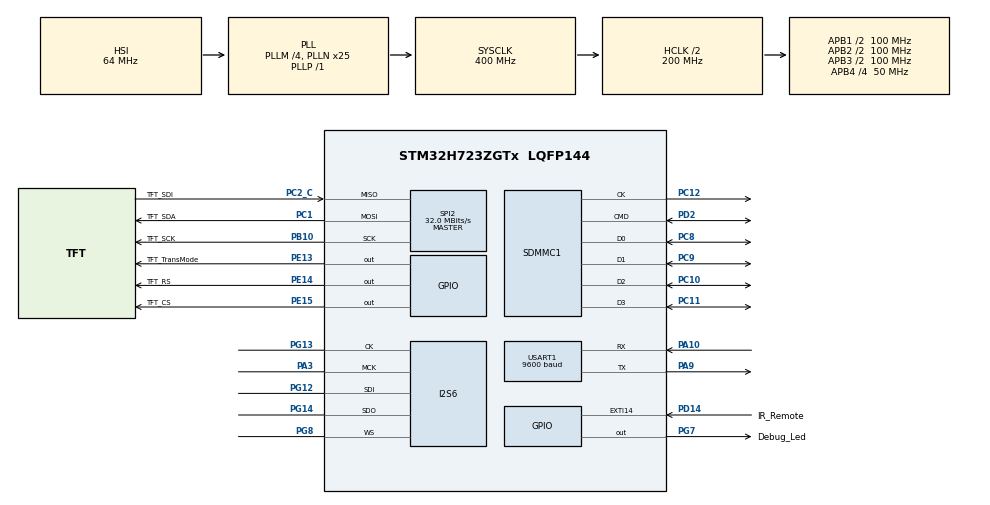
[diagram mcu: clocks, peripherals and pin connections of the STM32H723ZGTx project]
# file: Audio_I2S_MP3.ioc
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Bdma.Request0=SPI6_TX
Bdma.RequestsNb=1
Bdma.SPI6_TX.0.Direction=DMA_MEMORY_TO_PERIPH
Bdma.SPI6_TX.0.EventEnable=DISABLE
Bdma.SPI6_TX.0.Instance=BDMA_Channel0
Bdma.SPI6_TX.0.MemDataAlignment=DMA_MDATAALIGN_HALFWORD
Bdma.SPI6_TX.0.MemInc=DMA_MINC_ENABLE
Bdma.SPI6_TX.0.Mode=DMA_CIRCULAR
Bdma.SPI6_TX.0.PeriphDataAlignment=DMA_PDATAALIGN_HALFWORD
Bdma.SPI6_TX.0.PeriphInc=DMA_PINC_DISABLE
Bdma.SPI6_TX.0.Polarity=HAL_DMAMUX_REQ_GEN_RISING
Bdma.SPI6_TX.0.Priority=DMA_PRIORITY_LOW
Bdma.SPI6_TX.0.RequestNumber=1
Bdma.SPI6_TX.0.SignalID=NONE
Bdma.SPI6_TX.0.SyncEnable=DISABLE
Bdma.SPI6_TX.0.SyncPolarity=HAL_DMAMUX_SYNC_NO_EVENT
Bdma.SPI6_TX.0.SyncRequestNumber=1
Bdma.SPI6_TX.0.SyncSignalID=NONE
CORTEX_M7.default_mode_Activation=1
Dma.Request0=SPI2_TX
Dma.Request1=USART1_RX
Dma.SPI2_TX.0.Direction=DMA_MEMORY_TO_PERIPH
Dma.SPI2_TX.0.EventEnable=DISABLE
Dma.SPI2_TX.0.FIFOMode=DMA_FIFOMODE_DISABLE
Dma.SPI2_TX.0.Instance=DMA1_Stream3
Dma.SPI2_TX.0.MemDataAlignment=DMA_MDATAALIGN_BYTE
Dma.SPI2_TX.0.MemInc=DMA_MINC_ENABLE
Dma.SPI2_TX.0.Mode=DMA_NORMAL
Dma.SPI2_TX.0.PeriphDataAlignment=DMA_PDATAALIGN_BYTE
Dma.SPI2_TX.0.PeriphInc=DMA_PINC_DISABLE
Dma.SPI2_TX.0.Polarity=HAL_DMAMUX_REQ_GEN_RISING
Dma.SPI2_TX.0.Priority=DMA_PRIORITY_LOW
Dma.SPI2_TX.0.RequestNumber=1
Dma.SPI2_TX.0.SignalID=NONE
Dma.SPI2_TX.0.SyncEnable=DISABLE
Dma.SPI2_TX.0.SyncPolarity=HAL_DMAMUX_SYNC_NO_EVENT
Dma.SPI2_TX.0.SyncRequestNumber=1
Dma.SPI2_TX.0.SyncSignalID=NONE
Dma.USART1_RX.1.Direction=DMA_PERIPH_TO_MEMORY
Dma.USART1_RX.1.EventEnable=DISABLE
Dma.USART1_RX.1.FIFOMode=DMA_FIFOMODE_DISABLE
Dma.USART1_RX.1.Instance=DMA1_Stream0
Dma.USART1_RX.1.MemDataAlignment=DMA_MDATAALIGN_BYTE
Dma.USART1_RX.1.MemInc=DMA_MINC_ENABLE
Dma.USART1_RX.1.Mode=DMA_NORMAL
Dma.USART1_RX.1.PeriphDataAlignment=DMA_PDATAALIGN_BYTE
Dma.USART1_RX.1.PeriphInc=DMA_PINC_DISABLE
Dma.USART1_RX.1.Polarity=HAL_DMAMUX_REQ_GEN_RISING
Dma.USART1_RX.1.Priority=DMA_PRIORITY_LOW
Dma.USART1_RX.1.RequestNumber=1
Dma.USART1_RX.1.SignalID=NONE
Dma.USART1_RX.1.SyncEnable=DISABLE
Dma.USART1_RX.1.SyncPolarity=HAL_DMAMUX_SYNC_NO_EVENT
Dma.USART1_RX.1.SyncRequestNumber=1
Dma.USART1_RX.1.SyncSignalID=NONE
FATFS._FS_TIMEOUT=0x2710
FATFS._MAX_SS=4096
FATFS._MULTI_PARTITION=0
FATFS._USE_CHMOD=0
FATFS._USE_LABEL=1
FATFS._USE_LFN=3
I2S6.AudioFreq=I2S_AUDIOFREQ_16K
I2S6.CPOL=I2S_CPOL_HIGH
I2S6.ErrorAudioFreq=1.72 %
I2S6.Instance=SPI$Index
I2S6.RealAudioFreq=16.276 KHz
Mcu.Family=STM32H7
Mcu.Name=STM32H723ZGTx
Mcu.Package=LQFP144
NVIC.BDMA_Channel0_IRQn=true\:2\:0\:true\:false\:true\:false\:true\:true
NVIC.DMA1_Stream0_IRQn=true\:0\:0\:false\:false\:true\:false\:true\:true
NVIC.DMA1_Stream3_IRQn=true\:0\:0\:true\:false\:true\:false\:true\:true
NVIC.EXTI15_10_IRQn=true\:1\:0\:true\:false\:true\:true\:true\:true
NVIC.PriorityGroup=NVIC_PRIORITYGROUP_4
NVIC.SDMMC1_IRQn=true\:0\:0\:true\:false\:true\:true\:true\:true
NVIC.SPI2_IRQn=true\:0\:0\:false\:false\:true\:false\:true\:true
NVIC.USART1_IRQn=true\:0\:0\:false\:false\:true\:true\:true\:true
PA10.Mode=Asynchronous
PA10.Signal=USART1_RX
PA13(JTMS/SWDIO).Mode=Serial_Wire
PA13(JTMS/SWDIO).Signal=DEBUG_JTMS-SWDIO
PA14(JTCK/SWCLK).Mode=Serial_Wire
PA14(JTCK/SWCLK).Signal=DEBUG_JTCK-SWCLK
PA3.Mode=Master_Clock_Activated
PA3.Signal=I2S6_MCK
PA9.Mode=Asynchronous
PA9.Signal=USART1_TX
PB10.GPIO_Label=TFT_SCK
PB10.Mode=Full_Duplex_Master
PB10.Signal=SPI2_SCK
PC1.GPIO_Label=TFT_SDA
PC1.Mode=Full_Duplex_Master
PC1.Signal=SPI2_MOSI
PC10.Mode=SD_4_bits_Wide_bus
PC10.Signal=SDMMC1_D2
PC11.Mode=SD_4_bits_Wide_bus
PC11.Signal=SDMMC1_D3
PC12.Mode=SD_4_bits_Wide_bus
PC12.Signal=SDMMC1_CK
PC2_C.GPIO_Label=TFT_SDI
PC2_C.Mode=Full_Duplex_Master
PC2_C.Signal=SPI2_MISO
PC8.Mode=SD_4_bits_Wide_bus
PC8.Signal=SDMMC1_D0
PC9.Mode=SD_4_bits_Wide_bus
PC9.Signal=SDMMC1_D1
PD14.GPIO_Label=IR_Remote
PD14.GPIO_ModeDefaultEXTI=GPIO_MODE_IT_FALLING
PD14.GPIO_PuPd=GPIO_PULLUP
PD14.Signal=GPXTI14
PD2.Mode=SD_4_bits_Wide_bus
PD2.Signal=SDMMC1_CMD
PE13.GPIO_Label=TFT_TransMode
PE13.Signal=GPIO_Output
PE14.GPIO_Label=TFT_RS
PE14.Signal=GPIO_Output
PE15.GPIO_Label=TFT_CS
PE15.Signal=GPIO_Output
PG12.Mode=Full_Duplex_Master
PG12.Signal=I2S6_SDI
PG13.Mode=Full_Duplex_Master
PG13.Signal=I2S6_CK
PG14.Mode=Full_Duplex_Master
PG14.Signal=I2S6_SDO
PG7.GPIO_Label=Debug_Led
PG7.Signal=GPIO_Output
PG8.Mode=Full_Duplex_Master
PG8.Signal=I2S6_WS
PH0-OSC_IN.Mode=HSE-External-Oscillator
PH0-OSC_IN.Signal=RCC_OSC_IN
PH1-OSC_OUT.Mode=HSE-External-Oscillator
PH1-OSC_OUT.Signal=RCC_OSC_OUT
ProjectManager.HeapSize=0x200
ProjectManager.StackSize=0x400
ProjectManager.TargetToolchain=STM32CubeIDE
RCC.ADCFreq_Value=64000000
RCC.APB1Freq_Value=100000000
RCC.APB2Freq_Value=100000000
RCC.APB3Freq_Value=100000000
RCC.APB4Freq_Value=50000000
RCC.CortexFreq_Value=400000000
RCC.D1PPRE=RCC_APB3_DIV2
RCC.D2PPRE1=RCC_APB1_DIV2
RCC.D2PPRE2=RCC_APB2_DIV2
RCC.D3PPRE=RCC_APB4_DIV4
RCC.DIVM1=4
RCC.DIVM2=4
RCC.DIVM3=4
RCC.DIVN1=25
RCC.DIVN2=12
RCC.DIVN3=12
RCC.DIVP1=1
RCC.DIVP2=3
RCC.DIVP3=1
RCC.DIVQ2=1
RCC.DIVR2=1
RCC.HCLKFreq_Value=200000000
RCC.HPRE=RCC_HCLK_DIV2
RCC.PLL2FRACN=0
RCC.PLL3FRACN=0
RCC.PLLFRACN=0
RCC.SPI123CLockSelection=RCC_SPI123CLKSOURCE_CLKP
RCC.SYSCLKFreq_VALUE=400000000
RCC.SYSCLKSource=RCC_SYSCLKSOURCE_PLLCLK
RCC.USBFreq_Value=200000000
SDMMC1.ClockDiv=4
SDMMC1.HardwareFlowControl=SDMMC_HARDWARE_FLOW_CONTROL_ENABLE
SDMMC1.TransceiverPresent=SDMMC_TRANSCEIVER_NOT_PRESENT
SPI2.BaudRatePrescaler=SPI_BAUDRATEPRESCALER_2
SPI2.CalculateBaudRate=32.0 MBits/s
SPI2.DataSize=SPI_DATASIZE_8BIT
SPI2.Direction=SPI_DIRECTION_2LINES
SPI2.FirstBit=SPI_FIRSTBIT_MSB
SPI2.Mode=SPI_MODE_MASTER
SPI2.NSSPMode=SPI_NSS_PULSE_DISABLE
SPI2.VirtualType=VM_MASTER
STMicroelectronics.X-CUBE-DISPLAY.3.0.0.p_display_big_endian=false
STMicroelectronics.X-CUBE-DISPLAY.3.0.0_IsPackSelfContextualization=true
TIM4.Prescaler=216
USART1.BaudRate=9600
USART1.VirtualMode-Asynchronous=VM_ASYNC
VP_FATFS_VS_Generic.Mode=User_defined
VP_FATFS_VS_SDIO.Mode=SDIO
VP_LIBJPEG_VS_JPEGLIB.Mode=Enabled
VP_MEMORYMAP_VS_MEMORYMAP.Mode=CurAppReg
VP_TIM4_VS_ClockSourceINT.Mode=Internal
board=custom

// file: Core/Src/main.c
/* USER CODE BEGIN Header */
/**
 ******************************************************************************
 * @file           : main.c
 * @brief          : Main program body
 ******************************************************************************
 * @attention
 *
 * Copyright (c) 2025 STMicroelectronics.
 * All rights reserved.
 *
 * This software is licensed under terms that can be found in the LICENSE file
 * in the root directory of this software component.
 * If no LICENSE file comes with this software, it is provided AS-IS.
 *
 ******************************************************************************
 */
/* USER CODE END Header */
#include "main.h"
#include "fatfs.h"
#include "libjpeg.h"

/* USER CODE BEGIN Includes */
#include "display.h"
//#include "jpeg_lcd.h"
#include "sdio_benchmark.h"
#include "sdio_functions.h"
#include "wav_player.h"
#include "itr.h"
//#include "mp3dec.h"
/* USER CODE END Includes */

I2S_HandleTypeDef hi2s6;
DMA_HandleTypeDef hdma_spi6_tx;

SD_HandleTypeDef hsd1;

SPI_HandleTypeDef hspi2;
DMA_HandleTypeDef hdma_spi2_tx;

TIM_HandleTypeDef htim4;

UART_HandleTypeDef huart1;
DMA_HandleTypeDef hdma_usart1_rx;

/* USER CODE BEGIN PV */
//For File browser and UART
uint8_t firmware_data[1024];
volatile uint8_t FileSelection = 0;
SDFile_Info SDCard_FileList[50];

//For image display
UINT br;
uint8_t image_id = 0;
volatile uint8_t IsPlayingContent = 0;

//For IR Remote control
uint32_t tempCode;
uint8_t bitIndex;
uint8_t cmd;
uint8_t cmdli;
uint32_t code;

/* USER CODE END PV */

void SystemClock_Config(void);
void PeriphCommonClock_Config(void);
static void MPU_Config(void);
static void MX_GPIO_Init(void);
static void MX_DMA_Init(void);
static void MX_BDMA_Init(void);
static void MX_SPI2_Init(void);
static void MX_USART1_UART_Init(void);
static void MX_I2S6_Init(void);
static void MX_TIM4_Init(void);
static void MX_SDMMC1_SD_Init(void);
/* USER CODE BEGIN PFP */
static void IR_Control(uint32_t Ir_code);
/* USER CODE END PFP */

/* USER CODE BEGIN 0 */

int _write(int fd, unsigned char *buf, int len) {
	if (fd == 1 || fd == 2) {                              // stdout or stderr ?
		HAL_UART_Transmit(&huart1, buf, len, 999); // Print to the UART
	}
	return len;
}

// GPIO EXTI callbacks
void HAL_GPIO_EXTI_Callback(uint16_t GPIO_Pin) {
	UNUSED(GPIO_Pin);
	if (GPIO_Pin == IR_Remote_Pin) {
		if (__HAL_TIM_GET_COUNTER(&htim4) > 8000) {
			tempCode = 0;
			bitIndex = 0;
		} else if (__HAL_TIM_GET_COUNTER(&htim4) > 1700) {
			tempCode |= (1UL << (31 - bitIndex)); // write 1
			bitIndex++;
		} else if (__HAL_TIM_GET_COUNTER(&htim4) > 1000) {
			tempCode &= ~(1UL << (31 - bitIndex)); // write 0
			bitIndex++;
		}
		if (bitIndex == 32) {
			cmdli = ~tempCode;   // Logical inverted last 8 bits
			cmd = tempCode >> 8; // Second last 8 bits
			if (cmdli == cmd)    // Check for errors
					{
				code = tempCode; // If no bit errors
				// Do your main work HERE
				IR_Control(code);
			}
			bitIndex = 0;
		}
		__HAL_TIM_SET_COUNTER(&htim4, 0);
	}
}
// UART callbacks
void HAL_UARTEx_RxEventCallback(UART_HandleTypeDef *huart, uint16_t Size) {
	memset(firmware_data, 0, 1024);
	HAL_UARTEx_ReceiveToIdle_IT(&huart1, firmware_data, 1024);
}

/* USER CODE END 0 */

int main(void)
{

  /* USER CODE BEGIN 1 */
	FIL video_f;

  /* USER CODE END 1 */

  /* MPU Configuration--------------------------------------------------------*/
  MPU_Config();

  /* MCU Configuration--------------------------------------------------------*/

  /* Reset of all peripherals, Initializes the Flash interface and the Systick. */
  HAL_Init();

  /* Configure the system clock */
  SystemClock_Config();

  /* Configure the peripherals common clocks */
  PeriphCommonClock_Config();

  /* Initialize all configured peripherals */
  MX_GPIO_Init();
  MX_DMA_Init();
  MX_BDMA_Init();
  MX_FATFS_Init();
  MX_SPI2_Init();
  MX_LIBJPEG_Init();
  MX_USART1_UART_Init();
  MX_I2S6_Init();
  MX_TIM4_Init();
  MX_SDMMC1_SD_Init();
  /* USER CODE BEGIN 2 */
	// System peripheral
	HAL_TIM_Base_Start(&htim4);
	__HAL_TIM_SET_COUNTER(&htim4, 0);
	HAL_UARTEx_ReceiveToIdle_IT(&huart1, firmware_data, 1024);
	// User playground
	// For display
//	LCD_Init(&hspi2, &IsPlayingContent, 1);
//	LCD_AdjustGamma();
//	LCD_FillScreen(0x0000, 320, 240);
#define IDLEx
	// For SD card
#ifndef IDLE
	while (1) {
		if (sdio_mount() == FR_OK) {
			break;
		}
	}
	HAL_Delay(2000);
	IsPlayingContent = 5;
	Audio_Init(&hi2s6,&IsPlayingContent);
	Itr_InitI2SCBFunc(Audio_I2S_TxHalfCb, Audio_I2S_TxCpltCb);
	Itr_InitSPICBFunc(LCD_SPI_TxCpltCb, LCD_SPI_TxRxCpltCb);
	mp3_start_play("Vicetone_Nevada.mp3");

	//sdio_list_files(SDCard_FileList);
//	 For File browser
	//Browser_Init((Browser_FileInfo*) SDCard_FileList);
#endif
  /* USER CODE END 2 */

  /* Infinite loop */
  /* USER CODE BEGIN WHILE */
	while (1) {
#ifndef IDLEx
		if(IsPlayingContent){
			if (SDCard_FileList[FileSelection].format == emMP3) {
				LCD_DisplayJPEG(SDCard_FileList[FileSelection].name);
				IsPlayingContent = 0;
			}
		}

#endif
    /* USER CODE END WHILE */

	}
}

void SystemClock_Config(void)
{
  RCC_OscInitTypeDef RCC_OscInitStruct = {0};
  RCC_ClkInitTypeDef RCC_ClkInitStruct = {0};

  /** Supply configuration update enable
  */
  HAL_PWREx_ConfigSupply(PWR_LDO_SUPPLY);

  /** Configure the main internal regulator output voltage
  */
  __HAL_PWR_VOLTAGESCALING_CONFIG(PWR_REGULATOR_VOLTAGE_SCALE1);

  while(!__HAL_PWR_GET_FLAG(PWR_FLAG_VOSRDY)) {}

  /** Initializes the RCC Oscillators according to the specified parameters
  * in the RCC_OscInitTypeDef structure.
  */
  RCC_OscInitStruct.OscillatorType = RCC_OSCILLATORTYPE_HSI;
  RCC_OscInitStruct.HSIState = RCC_HSI_DIV1;
  RCC_OscInitStruct.HSICalibrationValue = 64;
  RCC_OscInitStruct.PLL.PLLState = RCC_PLL_ON;
  RCC_OscInitStruct.PLL.PLLSource = RCC_PLLSOURCE_HSI;
  RCC_OscInitStruct.PLL.PLLM = 4;
  RCC_OscInitStruct.PLL.PLLN = 25;
  RCC_OscInitStruct.PLL.PLLP = 1;
  RCC_OscInitStruct.PLL.PLLQ = 2;
  RCC_OscInitStruct.PLL.PLLR = 2;
  RCC_OscInitStruct.PLL.PLLRGE = RCC_PLL1VCIRANGE_3;
  RCC_OscInitStruct.PLL.PLLVCOSEL = RCC_PLL1VCOWIDE;
  RCC_OscInitStruct.PLL.PLLFRACN = 0;
  if (HAL_RCC_OscConfig(&RCC_OscInitStruct) != HAL_OK)
  {
    Error_Handler();
  }

  /** Initializes the CPU, AHB and APB buses clocks
  */
  RCC_ClkInitStruct.ClockType = RCC_CLOCKTYPE_HCLK|RCC_CLOCKTYPE_SYSCLK
                              |RCC_CLOCKTYPE_PCLK1|RCC_CLOCKTYPE_PCLK2
                              |RCC_CLOCKTYPE_D3PCLK1|RCC_CLOCKTYPE_D1PCLK1;
  RCC_ClkInitStruct.SYSCLKSource = RCC_SYSCLKSOURCE_PLLCLK;
  RCC_ClkInitStruct.SYSCLKDivider = RCC_SYSCLK_DIV1;
  RCC_ClkInitStruct.AHBCLKDivider = RCC_HCLK_DIV2;
  RCC_ClkInitStruct.APB3CLKDivider = RCC_APB3_DIV2;
  RCC_ClkInitStruct.APB1CLKDivider = RCC_APB1_DIV2;
  RCC_ClkInitStruct.APB2CLKDivider = RCC_APB2_DIV2;
  RCC_ClkInitStruct.APB4CLKDivider = RCC_APB4_DIV4;

  if (HAL_RCC_ClockConfig(&RCC_ClkInitStruct, FLASH_LATENCY_2) != HAL_OK)
  {
    Error_Handler();
  }
}

void PeriphCommonClock_Config(void)
{
  RCC_PeriphCLKInitTypeDef PeriphClkInitStruct = {0};

  /** Initializes the peripherals clock
  */
  PeriphClkInitStruct.PeriphClockSelection = RCC_PERIPHCLK_CKPER;
  PeriphClkInitStruct.CkperClockSelection = RCC_CLKPSOURCE_HSI;
  if (HAL_RCCEx_PeriphCLKConfig(&PeriphClkInitStruct) != HAL_OK)
  {
    Error_Handler();
  }
}

static void MX_I2S6_Init(void)
{

  hi2s6.Instance = SPI6;
  hi2s6.Init.Mode = I2S_MODE_MASTER_FULLDUPLEX;
  hi2s6.Init.Standard = I2S_STANDARD_PHILIPS;
  hi2s6.Init.DataFormat = I2S_DATAFORMAT_16B;
  hi2s6.Init.MCLKOutput = I2S_MCLKOUTPUT_ENABLE;
  hi2s6.Init.AudioFreq = I2S_AUDIOFREQ_16K;
  hi2s6.Init.CPOL = I2S_CPOL_HIGH;
  hi2s6.Init.FirstBit = I2S_FIRSTBIT_MSB;
  hi2s6.Init.WSInversion = I2S_WS_INVERSION_DISABLE;
  hi2s6.Init.Data24BitAlignment = I2S_DATA_24BIT_ALIGNMENT_RIGHT;
  hi2s6.Init.MasterKeepIOState = I2S_MASTER_KEEP_IO_STATE_DISABLE;
  if (HAL_I2S_Init(&hi2s6) != HAL_OK)
  {
    Error_Handler();
  }

}

static void MX_SDMMC1_SD_Init(void)
{

  hsd1.Instance = SDMMC1;
  hsd1.Init.ClockEdge = SDMMC_CLOCK_EDGE_RISING;
  hsd1.Init.ClockPowerSave = SDMMC_CLOCK_POWER_SAVE_DISABLE;
  hsd1.Init.BusWide = SDMMC_BUS_WIDE_4B;
  hsd1.Init.HardwareFlowControl = SDMMC_HARDWARE_FLOW_CONTROL_ENABLE;
  hsd1.Init.ClockDiv = 4;
  if (HAL_SD_Init(&hsd1) != HAL_OK)
  {
    Error_Handler();
  }

}

static void MX_SPI2_Init(void)
{

  /* SPI2 parameter configuration*/
  hspi2.Instance = SPI2;
  hspi2.Init.Mode = SPI_MODE_MASTER;
  hspi2.Init.Direction = SPI_DIRECTION_2LINES;
  hspi2.Init.DataSize = SPI_DATASIZE_8BIT;
  hspi2.Init.CLKPolarity = SPI_POLARITY_LOW;
  hspi2.Init.CLKPhase = SPI_PHASE_1EDGE;
  hspi2.Init.NSS = SPI_NSS_SOFT;
  hspi2.Init.BaudRatePrescaler = SPI_BAUDRATEPRESCALER_2;
  hspi2.Init.FirstBit = SPI_FIRSTBIT_MSB;
  hspi2.Init.TIMode = SPI_TIMODE_DISABLE;
  hspi2.Init.CRCCalculation = SPI_CRCCALCULATION_DISABLE;
  hspi2.Init.CRCPolynomial = 0x0;
  hspi2.Init.NSSPMode = SPI_NSS_PULSE_DISABLE;
  hspi2.Init.NSSPolarity = SPI_NSS_POLARITY_LOW;
  hspi2.Init.FifoThreshold = SPI_FIFO_THRESHOLD_01DATA;
  hspi2.Init.TxCRCInitializationPattern = SPI_CRC_INITIALIZATION_ALL_ZERO_PATTERN;
  hspi2.Init.RxCRCInitializationPattern = SPI_CRC_INITIALIZATION_ALL_ZERO_PATTERN;
  hspi2.Init.MasterSSIdleness = SPI_MASTER_SS_IDLENESS_00CYCLE;
  hspi2.Init.MasterInterDataIdleness = SPI_MASTER_INTERDATA_IDLENESS_00CYCLE;
  hspi2.Init.MasterReceiverAutoSusp = SPI_MASTER_RX_AUTOSUSP_DISABLE;
  hspi2.Init.MasterKeepIOState = SPI_MASTER_KEEP_IO_STATE_DISABLE;
  hspi2.Init.IOSwap = SPI_IO_SWAP_DISABLE;
  if (HAL_SPI_Init(&hspi2) != HAL_OK)
  {
    Error_Handler();
  }

}

static void MX_TIM4_Init(void)
{

  TIM_ClockConfigTypeDef sClockSourceConfig = {0};
  TIM_MasterConfigTypeDef sMasterConfig = {0};

  htim4.Instance = TIM4;
  htim4.Init.Prescaler = 216;
  htim4.Init.CounterMode = TIM_COUNTERMODE_UP;
  htim4.Init.Period = 65535;
  htim4.Init.ClockDivision = TIM_CLOCKDIVISION_DIV1;
  htim4.Init.AutoReloadPreload = TIM_AUTORELOAD_PRELOAD_DISABLE;
  if (HAL_TIM_Base_Init(&htim4) != HAL_OK)
  {
    Error_Handler();
  }
  sClockSourceConfig.ClockSource = TIM_CLOCKSOURCE_INTERNAL;
  if (HAL_TIM_ConfigClockSource(&htim4, &sClockSourceConfig) != HAL_OK)
  {
    Error_Handler();
  }
  sMasterConfig.MasterOutputTrigger = TIM_TRGO_RESET;
  sMasterConfig.MasterSlaveMode = TIM_MASTERSLAVEMODE_DISABLE;
  if (HAL_TIMEx_MasterConfigSynchronization(&htim4, &sMasterConfig) != HAL_OK)
  {
    Error_Handler();
  }

}

static void MX_USART1_UART_Init(void)
{

  huart1.Instance = USART1;
  huart1.Init.BaudRate = 9600;
  huart1.Init.WordLength = UART_WORDLENGTH_8B;
  huart1.Init.StopBits = UART_STOPBITS_1;
  huart1.Init.Parity = UART_PARITY_NONE;
  huart1.Init.Mode = UART_MODE_TX_RX;
  huart1.Init.HwFlowCtl = UART_HWCONTROL_NONE;
  huart1.Init.OverSampling = UART_OVERSAMPLING_16;
  huart1.Init.OneBitSampling = UART_ONE_BIT_SAMPLE_DISABLE;
  huart1.Init.ClockPrescaler = UART_PRESCALER_DIV1;
  huart1.AdvancedInit.AdvFeatureInit = UART_ADVFEATURE_NO_INIT;
  if (HAL_UART_Init(&huart1) != HAL_OK)
  {
    Error_Handler();
  }
  if (HAL_UARTEx_SetTxFifoThreshold(&huart1, UART_TXFIFO_THRESHOLD_1_8) != HAL_OK)
  {
    Error_Handler();
  }
  if (HAL_UARTEx_SetRxFifoThreshold(&huart1, UART_RXFIFO_THRESHOLD_1_8) != HAL_OK)
  {
    Error_Handler();
  }
  if (HAL_UARTEx_DisableFifoMode(&huart1) != HAL_OK)
  {
    Error_Handler();
  }

}

static void MX_BDMA_Init(void)
{

  /* DMA controller clock enable */
  __HAL_RCC_BDMA_CLK_ENABLE();

  /* DMA interrupt init */
  /* BDMA_Channel0_IRQn interrupt configuration */
  HAL_NVIC_SetPriority(BDMA_Channel0_IRQn, 2, 0);
  HAL_NVIC_EnableIRQ(BDMA_Channel0_IRQn);

}

static void MX_DMA_Init(void)
{

  /* DMA controller clock enable */
  __HAL_RCC_DMA1_CLK_ENABLE();

  /* DMA interrupt init */
  /* DMA1_Stream0_IRQn interrupt configuration */
  HAL_NVIC_SetPriority(DMA1_Stream0_IRQn, 0, 0);
  HAL_NVIC_EnableIRQ(DMA1_Stream0_IRQn);
  /* DMA1_Stream3_IRQn interrupt configuration */
  HAL_NVIC_SetPriority(DMA1_Stream3_IRQn, 0, 0);
  HAL_NVIC_EnableIRQ(DMA1_Stream3_IRQn);

}

static void MX_GPIO_Init(void)
{
  GPIO_InitTypeDef GPIO_InitStruct = {0};

  /* GPIO Ports Clock Enable */
  __HAL_RCC_GPIOH_CLK_ENABLE();
  __HAL_RCC_GPIOC_CLK_ENABLE();
  __HAL_RCC_GPIOA_CLK_ENABLE();
  __HAL_RCC_GPIOE_CLK_ENABLE();
  __HAL_RCC_GPIOB_CLK_ENABLE();
  __HAL_RCC_GPIOD_CLK_ENABLE();
  __HAL_RCC_GPIOG_CLK_ENABLE();

  /*Configure GPIO pin Output Level */
  HAL_GPIO_WritePin(GPIOE, TFT_TransMode_Pin|TFT_RS_Pin|TFT_CS_Pin, GPIO_PIN_RESET);

  /*Configure GPIO pin Output Level */
  HAL_GPIO_WritePin(Debug_Led_GPIO_Port, Debug_Led_Pin, GPIO_PIN_RESET);

  /*Configure GPIO pins : TFT_TransMode_Pin TFT_RS_Pin TFT_CS_Pin */
  GPIO_InitStruct.Pin = TFT_TransMode_Pin|TFT_RS_Pin|TFT_CS_Pin;
  GPIO_InitStruct.Mode = GPIO_MODE_OUTPUT_PP;
  GPIO_InitStruct.Pull = GPIO_NOPULL;
  GPIO_InitStruct.Speed = GPIO_SPEED_FREQ_LOW;
  HAL_GPIO_Init(GPIOE, &GPIO_InitStruct);

  /*Configure GPIO pin : IR_Remote_Pin */
  GPIO_InitStruct.Pin = IR_Remote_Pin;
  GPIO_InitStruct.Mode = GPIO_MODE_IT_FALLING;
  GPIO_InitStruct.Pull = GPIO_PULLUP;
  HAL_GPIO_Init(IR_Remote_GPIO_Port, &GPIO_InitStruct);

  /*Configure GPIO pin : Debug_Led_Pin */
  GPIO_InitStruct.Pin = Debug_Led_Pin;
  GPIO_InitStruct.Mode = GPIO_MODE_OUTPUT_PP;
  GPIO_InitStruct.Pull = GPIO_NOPULL;
  GPIO_InitStruct.Speed = GPIO_SPEED_FREQ_LOW;
  HAL_GPIO_Init(Debug_Led_GPIO_Port, &GPIO_InitStruct);

  /* EXTI interrupt init*/
  HAL_NVIC_SetPriority(IR_Remote_EXTI_IRQn, 1, 0);
  HAL_NVIC_EnableIRQ(IR_Remote_EXTI_IRQn);

}

/* USER CODE BEGIN 4 */
void IR_Control(uint32_t Ir_code) {

	switch (Ir_code) {
	case IR_CH_Minus:
		break;
	case IR_CH:
		break;
	case IR_CH_Plus:
		break;
	case IR_Prev:
		break;
	case IR_Next:
		break;
	case IR_Play_Pause: //Enter
		Browser_FileCtrl(IR_Play_Pause, FileSelection);
		IsPlayingContent = 1;
		break;
	case IR_Plus:
		FileSelection++;
		Browser_FileCtrl(IR_Plus, FileSelection);
		break;
	case IR_Minus:
		if (FileSelection > 0) {
			FileSelection--;
			Browser_FileCtrl(IR_Minus, FileSelection);
		}
		break;
	case IR_EQ: //Back
		Browser_FileCtrl(IR_EQ, FileSelection);
		IsPlayingContent = 0;
		break;
	case IR_0:
		break;
	case IR_100_Plus:
		FileSelection = 18;
		Browser_FileCtrl(IR_100_Plus, FileSelection);
		break;
	case IR_200_Plus:
		break;
	case IR_1:
		break;
	case IR_2:
		break;
	case IR_3:
		break;
	case IR_4:
		break;
	case IR_5:
		break;
	case IR_6:
		break;
	case IR_7:
		break;
	case IR_8:
		break;
	case IR_9:
		break;
	default:
		break;
	}
}
/* USER CODE END 4 */

 /* MPU Configuration */

void MPU_Config(void)
{
  MPU_Region_InitTypeDef MPU_InitStruct = {0};

  /* Disables the MPU */
  HAL_MPU_Disable();

  /** Initializes and configures the Region and the memory to be protected
  */
  MPU_InitStruct.Enable = MPU_REGION_ENABLE;
  MPU_InitStruct.Number = MPU_REGION_NUMBER0;
  MPU_InitStruct.BaseAddress = 0x0;
  MPU_InitStruct.Size = MPU_REGION_SIZE_4GB;
  MPU_InitStruct.SubRegionDisable = 0x87;
  MPU_InitStruct.TypeExtField = MPU_TEX_LEVEL0;
  MPU_InitStruct.AccessPermission = MPU_REGION_NO_ACCESS;
  MPU_InitStruct.DisableExec = MPU_INSTRUCTION_ACCESS_DISABLE;
  MPU_InitStruct.IsShareable = MPU_ACCESS_SHAREABLE;
  MPU_InitStruct.IsCacheable = MPU_ACCESS_NOT_CACHEABLE;
  MPU_InitStruct.IsBufferable = MPU_ACCESS_NOT_BUFFERABLE;

  HAL_MPU_ConfigRegion(&MPU_InitStruct);
  /* Enables the MPU */
  HAL_MPU_Enable(MPU_PRIVILEGED_DEFAULT);

}

void Error_Handler(void)
{
	__disable_irq();
	while (1) {
	}
}
